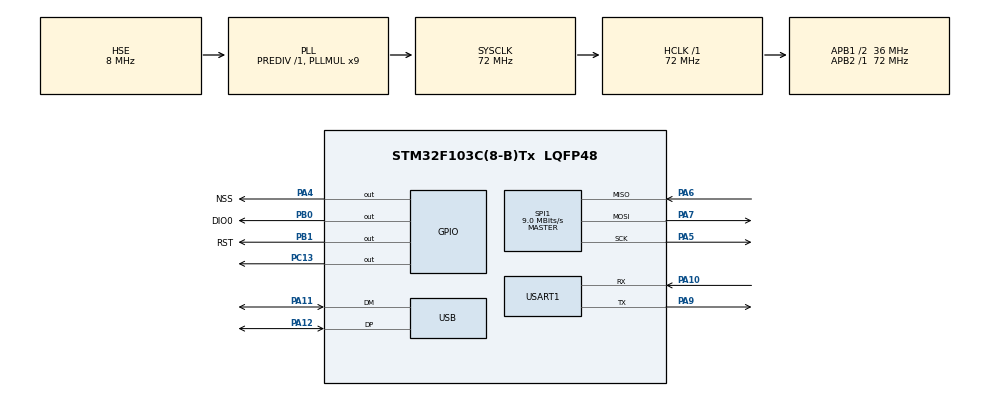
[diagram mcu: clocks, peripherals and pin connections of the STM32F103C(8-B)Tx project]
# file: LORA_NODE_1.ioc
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Mcu.Family=STM32F1
Mcu.Name=STM32F103C(8-B)Tx
Mcu.Package=LQFP48
NVIC.PriorityGroup=NVIC_PRIORITYGROUP_4
NVIC.USB_LP_CAN1_RX0_IRQn=true\:0\:0\:false\:false\:true\:false\:true\:true
PA10.Mode=Asynchronous
PA10.Signal=USART1_RX
PA11.Mode=Device
PA11.Signal=USB_DM
PA12.Mode=Device
PA12.Signal=USB_DP
PA13.Mode=Serial_Wire
PA13.Signal=SYS_JTMS-SWDIO
PA14.Mode=Serial_Wire
PA14.Signal=SYS_JTCK-SWCLK
PA4.GPIO_Label=NSS
PA4.PinState=GPIO_PIN_SET
PA4.Signal=GPIO_Output
PA5.Mode=Full_Duplex_Master
PA5.Signal=SPI1_SCK
PA6.Mode=Full_Duplex_Master
PA6.Signal=SPI1_MISO
PA7.Mode=Full_Duplex_Master
PA7.Signal=SPI1_MOSI
PA9.Mode=Asynchronous
PA9.Signal=USART1_TX
PB0.GPIO_Label=DIO0
PB0.Signal=GPIO_Output
PB1.GPIO_Label=RST
PB1.PinState=GPIO_PIN_SET
PB1.Signal=GPIO_Output
PC13-TAMPER-RTC.GPIO_PuPd=GPIO_NOPULL
PC13-TAMPER-RTC.PinState=GPIO_PIN_SET
PC13-TAMPER-RTC.Signal=GPIO_Output
PD0-OSC_IN.Mode=HSE-External-Oscillator
PD0-OSC_IN.Signal=RCC_OSC_IN
PD1-OSC_OUT.Mode=HSE-External-Oscillator
PD1-OSC_OUT.Signal=RCC_OSC_OUT
ProjectManager.HeapSize=0x200
ProjectManager.StackSize=0x400
ProjectManager.TargetToolchain=MDK-ARM V5.32
RCC.AHBFreq_Value=72000000
RCC.APB1CLKDivider=RCC_HCLK_DIV2
RCC.APB1Freq_Value=36000000
RCC.APB1TimFreq_Value=72000000
RCC.APB2Freq_Value=72000000
RCC.APB2TimFreq_Value=72000000
RCC.HCLKFreq_Value=72000000
RCC.PLLMUL=RCC_PLL_MUL9
RCC.PLLSourceVirtual=RCC_PLLSOURCE_HSE
RCC.SYSCLKFreq_VALUE=72000000
RCC.SYSCLKSource=RCC_SYSCLKSOURCE_PLLCLK
RCC.USBFreq_Value=48000000
RCC.USBPrescaler=RCC_USBCLKSOURCE_PLL_DIV1_5
SPI1.BaudRatePrescaler=SPI_BAUDRATEPRESCALER_8
SPI1.CalculateBaudRate=9.0 MBits/s
SPI1.Direction=SPI_DIRECTION_2LINES
SPI1.Mode=SPI_MODE_MASTER
SPI1.VirtualType=VM_MASTER
USART1.VirtualMode=VM_ASYNC
USB_DEVICE.CLASS_NAME_FS=CDC
USB_DEVICE.PRODUCT_STRING_CDC_FS=STM32 Virtual Port
USB_DEVICE.VirtualMode=Cdc
USB_DEVICE.VirtualModeFS=Cdc_FS
VP_USB_DEVICE_VS_USB_DEVICE_CDC_FS.Mode=CDC_FS
board=custom

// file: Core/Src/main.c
/* USER CODE BEGIN Header */
/**
  ******************************************************************************
  * @file    main.c
  * @brief   LoRa SX1278 TX-only + USB CDC log (non-blocking) + Watch vars
  ******************************************************************************
  */
/* USER CODE END Header */

#include "main.h"
#include "spi.h"
#include "usart.h"
#include "usb_device.h"
#include "gpio.h"

/* USER CODE BEGIN Includes */
#include "LoRa.h"
#include "usbd_cdc_if.h"     // USB CDC
#include <string.h>
#include <stdio.h>
/* USER CODE END Includes */

/* USER CODE BEGIN PD */
/* SX1278 registers we use */
#ifndef RegFifo
#define RegFifo              0x00
#endif
#ifndef RegOpMode
#define RegOpMode            0x01
#endif
#ifndef RegFifoAddrPtr
#define RegFifoAddrPtr       0x0D
#endif
#ifndef RegFifoTxBaseAddr
#define RegFifoTxBaseAddr    0x0E
#endif
#ifndef RegIrqFlagsMask
#define RegIrqFlagsMask      0x11
#endif
#ifndef RegIrqFlags
#define RegIrqFlags          0x12
#endif
#ifndef RegPayloadLength
#define RegPayloadLength     0x22
#endif
#ifndef RegDioMapping1
#define RegDioMapping1       0x40
#endif
#ifndef RegVersion
#define RegVersion           0x42
#endif

#define LORA_MODE_SLEEP      0x00
#define LORA_MODE_STDBY      0x01
#define LORA_MODE_TX         0x03
#define LORA_IRQ_TXDONE      0x08
/* USER CODE END PD */

/* USER CODE BEGIN PV */
LoRa myLoRa;

/* Watch/debug variables */
volatile uint8_t  g_ver    = 0;      // RegVersion, expect 0x12
volatile uint16_t g_init   = 0;      // LoRa_init() status (LORA_OK=0x00C8)
volatile uint8_t  g_txst   = 0;      // 0xC8 OK, 0x01 timeout (convention)
volatile uint8_t  g_irq    = 0;      // RegIrqFlags after TX (bit3=TxDone)
volatile uint32_t g_tx_cnt = 0;      // TX success counter
volatile uint8_t  g_beat   = 0;      // heartbeat LED state

/* Snapshot FIFO (for Watch) */
volatile uint8_t  g_echo[32] = {0};  // first bytes of FIFO payload
volatile uint8_t  g_fifo_ok  = 0;    // 1 if matches RAM payload

/* USER CODE END PV */

void SystemClock_Config(void);

/* USER CODE BEGIN 0 */

/* ---------- USB CDC helpers (NON-BLOCKING) ---------- */
extern USBD_HandleTypeDef hUsbDeviceFS;

static inline uint8_t USB_IsConfigured(void)
{
  return (hUsbDeviceFS.dev_state == USBD_STATE_CONFIGURED);
}

/* Try to send once; if BUSY or not configured => just skip (no blocking) */
static void CDC_TrySend(const uint8_t *data, uint16_t len)
{
  if (!USB_IsConfigured()) return;
  (void)CDC_Transmit_FS((uint8_t*)data, len);  // ignore USBD_BUSY
}

/* Pretty print one TX line to Hercules */
static void CDC_SendTxLine(const uint8_t *payload, uint8_t len,
                           uint32_t seq, uint8_t ok, uint8_t irq)
{
  char line[128];
  int n = snprintf(line, sizeof(line), "TX #%lu: ", (unsigned long)seq);
  for (uint8_t i = 0; i < len && n < (int)sizeof(line)-4; i++) {
    n += snprintf(&line[n], sizeof(line)-n, "%02X ", payload[i]);
  }
  n += snprintf(&line[n], sizeof(line)-n, "[%s]  irq=0x%02X\r\n",
                ok ? "OK" : "FAIL", irq);
  if (n > 0) CDC_TrySend((const uint8_t*)line, (uint16_t)n);
}

/* ---------- Small utilities ---------- */
static void Blink_OK(uint8_t n) {
  for (uint8_t i=0;i<n;i++){
    HAL_GPIO_TogglePin(GPIOC, GPIO_PIN_13); HAL_Delay(120);
    HAL_GPIO_TogglePin(GPIOC, GPIO_PIN_13); HAL_Delay(120);
  }
}
static void Blink_ERR(void) {
  while (1) { HAL_GPIO_TogglePin(GPIOC, GPIO_PIN_13); HAL_Delay(500); }
}

static void LoRa_ConfigDefaults(LoRa *l)
{
  l->frequency             = 433;
  l->spredingFactor        = SF_7;
  l->bandWidth             = BW_125KHz;
  l->crcRate               = CR_4_5;
  l->power                 = POWER_17db;
  l->overCurrentProtection = 100;
  l->preamble              = 8;
}

/* Write payload bytes into FIFO (standby) */
static void fifo_write_bytes(LoRa *l, const uint8_t *buf, uint8_t len)
{
  for (uint8_t i = 0; i < len; i++) {
    LoRa_write(l, RegFifo, buf[i]);
  }
}

/* Read back FIFO bytes (standby) — for Watch */
static void fifo_read_back(LoRa *l, uint8_t base, uint8_t *out, uint8_t len)
{
  LoRa_write(l, RegFifoAddrPtr, base);
  for (uint8_t i = 0; i < len; i++) {
    out[i] = LoRa_read(l, RegFifo);
  }
}
/* USER CODE END 0 */

int main(void)
{
  /* Reset & HAL */
  HAL_Init();
  SystemClock_Config();

  /* Init BSP/HAL drivers */
  MX_GPIO_Init();
  MX_SPI1_Init();
  MX_USART1_UART_Init();    // optional
  MX_USB_DEVICE_Init();     // USB CDC (non-blocking helpers will check state)

  /* LED off at boot (PC13 active-low) */
  HAL_GPIO_WritePin(GPIOC, GPIO_PIN_13, GPIO_PIN_SET);

  /* LoRa object & pins */
  myLoRa = newLoRa();
  myLoRa.CS_port    = NSS_GPIO_Port;
  myLoRa.CS_pin     = NSS_Pin;
  myLoRa.reset_port = RST_GPIO_Port;
  myLoRa.reset_pin  = RST_Pin;
  myLoRa.DIO0_port  = DIO0_GPIO_Port;   // not using EXTI for TX-only
  myLoRa.DIO0_pin   = DIO0_Pin;
  myLoRa.hSPIx      = &hspi1;
  LoRa_ConfigDefaults(&myLoRa);

  /* Reset & check version */
  LoRa_reset(&myLoRa);
  HAL_Delay(5);
  g_ver = LoRa_read(&myLoRa, RegVersion);
  if (g_ver != 0x12) Blink_ERR();

  /* Init radio */
  g_init = LoRa_init(&myLoRa);
  if (g_init != LORA_OK) Blink_ERR();
  Blink_OK(3);

  /* Payload (<= sizeof(g_echo)) */
  static uint8_t TxPayload[] = { 0x2D, 0x12, 0x47 }; // "2D 12 47"
  const uint8_t TX_LEN = (uint8_t)sizeof(TxPayload);
  const uint8_t FIFO_TX_BASE = 0x80;

  uint32_t last = HAL_GetTick();
  while (1)
  {
    /* Send once per second */
    if (HAL_GetTick() - last >= 1000) {
      last += 1000;

      /* Heartbeat LED */
      g_beat ^= 1;
      HAL_GPIO_WritePin(GPIOC, GPIO_PIN_13, g_beat ? GPIO_PIN_RESET : GPIO_PIN_SET);

      /* --- Prepare TX (Sleep->Standby) --- */
      uint8_t op = LoRa_read(&myLoRa, RegOpMode);
      op = (op & 0x07) | 0x80;                   // LoRa + Sleep
      LoRa_write(&myLoRa, RegOpMode, op);
      HAL_Delay(1);
      op = (op & 0xF8) | LORA_MODE_STDBY;        // Standby
      LoRa_write(&myLoRa, RegOpMode, op);

      /* Clear IRQs and unmask */
      LoRa_write(&myLoRa, RegIrqFlags, 0xFF);
      LoRa_write(&myLoRa, RegIrqFlagsMask, 0x00);

      /* FIFO base & pointer */
      LoRa_write(&myLoRa, RegFifoTxBaseAddr, FIFO_TX_BASE);
      LoRa_write(&myLoRa, RegFifoAddrPtr,    FIFO_TX_BASE);

      /* Write payload & length */
      fifo_write_bytes(&myLoRa, TxPayload, TX_LEN);
      LoRa_write(&myLoRa, RegPayloadLength, TX_LEN);

      /* Read back a snapshot for Watch */
      uint8_t echo[sizeof(TxPayload)] = {0};
      fifo_read_back(&myLoRa, FIFO_TX_BASE, echo, TX_LEN);
      for (uint8_t i=0; i<TX_LEN && i<sizeof(g_echo); i++) g_echo[i] = echo[i];
      g_fifo_ok = (memcmp(echo, TxPayload, TX_LEN) == 0) ? 1 : 0;

      /* Restore pointer before TX */
      LoRa_write(&myLoRa, RegFifoAddrPtr, FIFO_TX_BASE);

      /* Map DIO0 = TxDone (for future EXTI usage) */
      uint8_t map1 = LoRa_read(&myLoRa, RegDioMapping1);
      map1 = (map1 & 0x3F) | 0x40;
      LoRa_write(&myLoRa, RegDioMapping1, map1);

      /* Enter TX mode */
      op = LoRa_read(&myLoRa, RegOpMode);
      op = (op & 0xF8) | LORA_MODE_TX;
      LoRa_write(&myLoRa, RegOpMode, op);

      /* Wait TxDone or timeout (~300 ms) */
      uint32_t t0 = HAL_GetTick();
      uint8_t irq;
      do {
        irq = LoRa_read(&myLoRa, RegIrqFlags);
      } while (((irq & LORA_IRQ_TXDONE) == 0) && (HAL_GetTick() - t0 < 300));

      g_irq = irq;
      if (irq & LORA_IRQ_TXDONE) {
        g_txst = 0xC8;                // OK (convention)
        g_tx_cnt++;
        LoRa_write(&myLoRa, RegIrqFlags, 0xFF);  // clear flags
      } else {
        g_txst = 0x01;                // timeout / fail
      }

      /* USB CDC log — NON-BLOCKING (will not stall main loop) */
      CDC_SendTxLine((const uint8_t*)g_echo, TX_LEN, g_tx_cnt,
                     (g_txst == 0xC8), g_irq);
    }
  }
}

/* Clock = 72 MHz, USB clock = 48 MHz (PLL/1.5) */
void SystemClock_Config(void)
{
  RCC_OscInitTypeDef RCC_OscInitStruct = {0};
  RCC_ClkInitTypeDef RCC_ClkInitStruct = {0};
  RCC_PeriphCLKInitTypeDef PeriphClkInit = {0};

  RCC_OscInitStruct.OscillatorType = RCC_OSCILLATORTYPE_HSE;
  RCC_OscInitStruct.HSEState       = RCC_HSE_ON;
  RCC_OscInitStruct.HSEPredivValue = RCC_HSE_PREDIV_DIV1;
  RCC_OscInitStruct.HSIState       = RCC_HSI_ON;
  RCC_OscInitStruct.PLL.PLLState   = RCC_PLL_ON;
  RCC_OscInitStruct.PLL.PLLSource  = RCC_PLLSOURCE_HSE;
  RCC_OscInitStruct.PLL.PLLMUL     = RCC_PLL_MUL9;       // 72 MHz
  if (HAL_RCC_OscConfig(&RCC_OscInitStruct) != HAL_OK) { Error_Handler(); }

  RCC_ClkInitStruct.ClockType      = RCC_CLOCKTYPE_HCLK|RCC_CLOCKTYPE_SYSCLK
                                   |RCC_CLOCKTYPE_PCLK1|RCC_CLOCKTYPE_PCLK2;
  RCC_ClkInitStruct.SYSCLKSource   = RCC_SYSCLKSOURCE_PLLCLK;
  RCC_ClkInitStruct.AHBCLKDivider  = RCC_SYSCLK_DIV1;
  RCC_ClkInitStruct.APB1CLKDivider = RCC_HCLK_DIV2;      // ≤36 MHz
  RCC_ClkInitStruct.APB2CLKDivider = RCC_HCLK_DIV1;
  if (HAL_RCC_ClockConfig(&RCC_ClkInitStruct, FLASH_LATENCY_2) != HAL_OK) { Error_Handler(); }

  /* USB clock 48 MHz = PLL / 1.5 */
  PeriphClkInit.PeriphClockSelection = RCC_PERIPHCLK_USB;
  PeriphClkInit.UsbClockSelection    = RCC_USBCLKSOURCE_PLL_DIV1_5;
  if (HAL_RCCEx_PeriphCLKConfig(&PeriphClkInit) != HAL_OK) { Error_Handler(); }
}

/* USER CODE BEGIN 4 */
void HAL_GPIO_EXTI_Callback(uint16_t GPIO_Pin)
{
  (void)GPIO_Pin; // not used
}
/* USER CODE END 4 */

void Error_Handler(void)
{
  __disable_irq();
  while (1) { }
}
